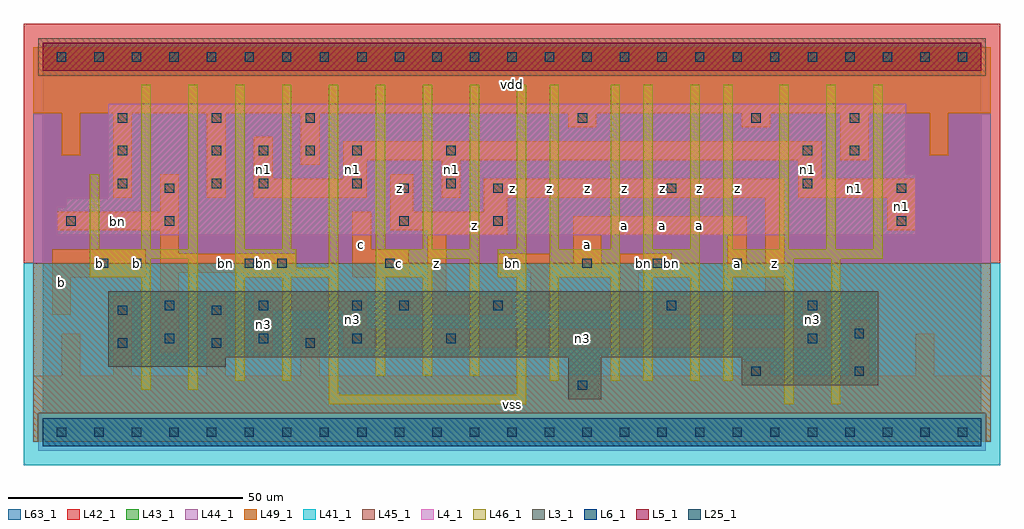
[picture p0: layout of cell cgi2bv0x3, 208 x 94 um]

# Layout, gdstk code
import gdstk
lib = gdstk.Library(unit=1e-6, precision=1e-09)
def R(c, l, rs):  # rectangles x0, y0, x1, y1
    for r in rs: c.add(gdstk.rectangle(r[:2], r[2:], *l))
def A(c, l, x, y, w, h, nx, ny, dx, dy):  # array of equal rectangles
    R(c, l, [(x+i*dx, y+j*dy, x+i*dx+w, y+j*dy+h) for i in range(nx) for j in range(ny)])
L3_1 = (3, 1)
L4_1 = (4, 1)
L5_1 = (5, 1)
L6_1 = (6, 1)
L25_1 = (25, 1)
L41_1 = (41, 1)
L42_1 = (42, 1)
L43_1 = (43, 1)
L44_1 = (44, 1)
L45_1 = (45, 1)
L46_1 = (46, 1)
L49_1 = (49, 1)
L63_1 = (63, 1)

cgi2bv0x3 = lib.new_cell('cgi2bv0x3')
R(cgi2bv0x3, L3_1, [(112,7,119,16), (149,10,178,16), (14,14,39,16), (14,16,178,30)])
R(cgi2bv0x3, L4_1, [(3,42,186,48), (5,48,186,50), (14,50,186,55), (14,55,184,70)])
R(cgi2bv0x3, L5_1, [(0,77,200,83)])
R(cgi2bv0x3, L6_1, [(0,-3,200,3), (0,-3,200,3)])
A(cgi2bv0x3, L25_1, 3, -1, 2, 2, 25, 2, 8, 80)
A(cgi2bv0x3, L25_1, 16, 18, 2, 2, 3, 2, 20, 48)
A(cgi2bv0x3, L25_1, 26, 19, 2, 2, 4, 1, 20, 0)
A(cgi2bv0x3, L25_1, 26, 26, 2, 2, 3, 1, 20, 0)
A(cgi2bv0x3, L25_1, 46, 52, 2, 2, 3, 1, 20, 0)
A(cgi2bv0x3, L25_1, 36, 59, 2, 2, 4, 1, 10, 0)
R(cgi2bv0x3, L25_1, [(114,9,116,11), (151,12,153,14), (173,12,175,14), (163,19,165,21), (173,20,175,22), (16,25,18,27), (36,25,38,27), (76,26,78,28), (96,26,98,28), (133,26,135,28), (163,26,165,28), (12,35,14,37), (19,35,21,37), (43,35,45,37), (50,35,52,37), (73,35,75,37), (99,35,101,37), (115,35,117,37), (130,35,132,37), (147,35,149,37), (5,44,7,46), (26,44,28,46), (76,44,78,46), (96,44,98,46), (182,44,184,46), (26,51,28,53), (76,51,78,53), (96,51,98,53), (133,51,135,53), (182,51,184,53), (16,52,18,54), (36,52,38,54), (162,52,164,54), (16,59,18,61), (86,59,88,61), (162,59,164,61), (172,59,174,61), (114,66,116,68), (151,66,153,68), (172,66,174,68)])
R(cgi2bv0x3, L41_1, [(-4,-7,204,36)])
R(cgi2bv0x3, L42_1, [(-4,36,204,87)])
R(cgi2bv0x3, L43_1, [(0,-3,200,3), (112,7,119,16), (149,10,178,16), (14,14,39,16), (14,16,178,30), (3,42,186,48), (5,48,186,50), (14,50,186,55), (14,55,184,70), (0,77,200,83)])
R(cgi2bv0x3, L44_1, [(-1,-4,201,4), (-2,36,202,76), (-2,76,-1,82), (201,76,202,82)])
R(cgi2bv0x3, L45_1, [(-2,-2,-1,4), (201,-2,202,4), (-2,4,202,36), (-1,76,201,84)])
A(cgi2bv0x3, L46_1, 21, 39, 2, 35, 4, 1, 10, 0)
A(cgi2bv0x3, L46_1, 71, 39, 2, 35, 4, 1, 10, 0)
A(cgi2bv0x3, L46_1, 157, 39, 2, 35, 3, 1, 10, 0)
R(cgi2bv0x3, L46_1, [(61,6,103,8), (158,6,160,33), (168,6,170,37), (61,8,63,33), (101,8,103,33), (21,9,23,33), (31,9,33,37), (41,11,43,33), (51,11,53,33), (108,11,110,33), (121,11,123,33), (128,11,130,33), (138,11,140,33), (145,11,147,33), (71,12,73,33), (81,12,83,33), (91,12,93,37), (10,33,23,37), (41,33,63,35), (71,33,83,37), (97,33,103,39), (108,33,123,39), (128,33,140,39), (145,33,160,37), (41,35,54,39), (61,35,63,74), (10,37,33,39), (71,37,93,39), (145,37,179,39), (10,39,12,55), (108,39,110,74), (121,39,123,74), (128,39,130,74), (138,39,140,74), (145,39,147,74)])
R(cgi2bv0x3, L49_1, [(-2,-2,202,12), (4,12,8,21), (15,12,19,29), (35,12,39,29), (55,12,59,22), (149,12,155,15), (172,12,176,24), (186,12,190,21), (25,17,29,34), (45,17,49,26), (64,18,167,22), (64,22,69,26), (162,22,167,30), (2,25,6,33), (74,25,100,29), (131,25,158,29), (45,26,69,30), (104,26,127,30), (82,29,86,42), (154,29,158,50), (104,30,108,34), (123,30,127,34), (2,33,22,39), (66,33,78,39), (146,33,150,42), (25,34,54,38), (97,34,108,38), (113,34,119,42), (123,34,134,38), (25,38,29,43), (66,39,70,47), (82,42,99,43), (113,42,150,46), (3,43,29,47), (74,43,99,47), (180,43,186,50), (25,47,29,55), (74,47,79,55), (94,47,99,50), (15,50,19,68), (35,50,39,68), (45,50,69,54), (85,50,89,58), (94,50,158,54), (161,50,186,54), (45,54,49,63), (64,54,69,58), (161,54,166,58), (55,57,59,68), (64,58,166,62), (170,58,176,68), (4,59,8,68), (189,59,193,68), (112,65,118,68), (149,65,155,68), (-2,68,202,82)])
R(cgi2bv0x3, L63_1, [(0,0,200,80)])
cgi2bv0x3.add(gdstk.Label('bn', (47,36), layer=46, texttype=1))
cgi2bv0x3.add(gdstk.Label('bn', (100,36), layer=49, texttype=1))
cgi2bv0x3.add(gdstk.Label('bn', (134,36), layer=46, texttype=1))
cgi2bv0x3.add(gdstk.Label('b', (20,36), layer=49, texttype=1))
cgi2bv0x3.add(gdstk.Label('b', (12,36), layer=49, texttype=1))
cgi2bv0x3.add(gdstk.Label('b', (4,32), layer=49, texttype=1))
cgi2bv0x3.add(gdstk.Label('bn', (16,45), layer=49, texttype=1))
cgi2bv0x3.add(gdstk.Label('n3', (47,23), layer=49, texttype=1))
cgi2bv0x3.add(gdstk.Label('bn', (39,36), layer=49, texttype=1))
cgi2bv0x3.add(gdstk.Label('n1', (47,56), layer=49, texttype=1))
cgi2bv0x3.add(gdstk.Label('n3', (66,24), layer=49, texttype=1))
cgi2bv0x3.add(gdstk.Label('z', (84,36), layer=49, texttype=1))
cgi2bv0x3.add(gdstk.Label('c', (76,36), layer=49, texttype=1))
cgi2bv0x3.add(gdstk.Label('z', (92,44), layer=49, texttype=1))
cgi2bv0x3.add(gdstk.Label('c', (68,40), layer=49, texttype=1))
cgi2bv0x3.add(gdstk.Label('z', (76,52), layer=49, texttype=1))
cgi2bv0x3.add(gdstk.Label('n1', (87,56), layer=49, texttype=1))
cgi2bv0x3.add(gdstk.Label('n1', (66,56), layer=49, texttype=1))
cgi2bv0x3.add(gdstk.Label('vss', (100,6), layer=49, texttype=1))
cgi2bv0x3.add(gdstk.Label('bn', (102,36), layer=49, texttype=1))
cgi2bv0x3.add(gdstk.Label('bn', (128,36), layer=49, texttype=1))
cgi2bv0x3.add(gdstk.Label('a', (116,40), layer=49, texttype=1))
cgi2bv0x3.add(gdstk.Label('a', (124,44), layer=49, texttype=1))
cgi2bv0x3.add(gdstk.Label('a', (132,44), layer=49, texttype=1))
cgi2bv0x3.add(gdstk.Label('z', (100,52), layer=49, texttype=1))
cgi2bv0x3.add(gdstk.Label('z', (124,52), layer=49, texttype=1))
cgi2bv0x3.add(gdstk.Label('z', (132,52), layer=49, texttype=1))
cgi2bv0x3.add(gdstk.Label('z', (116,52), layer=49, texttype=1))
cgi2bv0x3.add(gdstk.Label('z', (108,52), layer=49, texttype=1))
cgi2bv0x3.add(gdstk.Label('vdd', (100,74), layer=49, texttype=1))
cgi2bv0x3.add(gdstk.Label('n3', (115,20), layer=49, texttype=1))
cgi2bv0x3.add(gdstk.Label('n3', (164,24), layer=49, texttype=1))
cgi2bv0x3.add(gdstk.Label('a', (148,36), layer=49, texttype=1))
cgi2bv0x3.add(gdstk.Label('z', (156,36), layer=49, texttype=1))
cgi2bv0x3.add(gdstk.Label('a', (140,44), layer=49, texttype=1))
cgi2bv0x3.add(gdstk.Label('z', (140,52), layer=49, texttype=1))
cgi2bv0x3.add(gdstk.Label('z', (148,52), layer=49, texttype=1))
cgi2bv0x3.add(gdstk.Label('n1', (163,56), layer=49, texttype=1))
cgi2bv0x3.add(gdstk.Label('n1', (173,52), layer=49, texttype=1))
cgi2bv0x3.add(gdstk.Label('n1', (183,48), layer=49, texttype=1))

lib.write_gds('cgi2bv0x3.gds')
